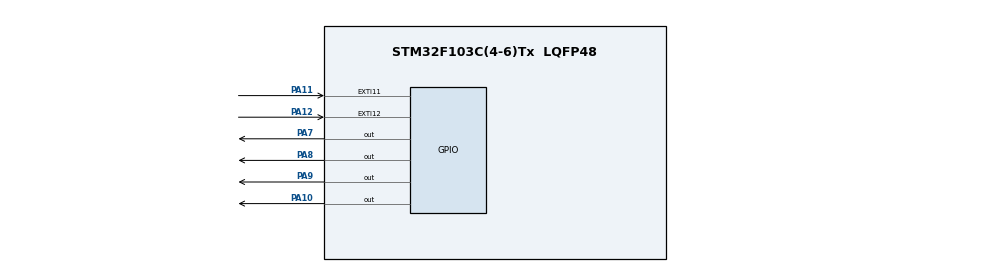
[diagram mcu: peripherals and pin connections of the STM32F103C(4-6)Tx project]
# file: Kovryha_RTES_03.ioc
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Mcu.Family=STM32F1
Mcu.Name=STM32F103C(4-6)Tx
Mcu.Package=LQFP48
NVIC.EXTI15_10_IRQn=true\:0\:0\:false\:true\:true\:1\:true\:true
NVIC.PriorityGroup=NVIC_PRIORITYGROUP_4
PA10.Signal=GPIO_Output
PA11.Signal=GPXTI11
PA12.Signal=GPXTI12
PA7.Signal=GPIO_Output
PA8.Signal=GPIO_Output
PA9.Signal=GPIO_Output
ProjectManager.HeapSize=0x200
ProjectManager.StackSize=0x400
ProjectManager.TargetToolchain=STM32CubeIDE
RCC.APB1Freq_Value=8000000
RCC.APB2Freq_Value=8000000
VP_SYS_VS_ND.Mode=No_Debug
board=custom

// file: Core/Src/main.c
/* USER CODE BEGIN Header */
/**
  ******************************************************************************
  * @file           : main.c
  * @brief          : Main program body
  ******************************************************************************
  * @attention
  *
  * <h2><center>&copy; Copyright (c) 2021 STMicroelectronics.
  * All rights reserved.</center></h2>
  *
  * This software component is licensed by ST under BSD 3-Clause license,
  * the "License"; You may not use this file except in compliance with the
  * License. You may obtain a copy of the License at:
  *                        opensource.org/licenses/BSD-3-Clause
  *
  ******************************************************************************
  */
/* USER CODE END Header */
#include "main.h"

void SystemClock_Config(void);
static void MX_GPIO_Init(void);
static void MX_NVIC_Init(void);

int main(void)
{

  /* MCU Configuration--------------------------------------------------------*/

  /* Reset of all peripherals, Initializes the Flash interface and the Systick. */
  HAL_Init();

  /* Configure the system clock */
  SystemClock_Config();

  /* Initialize all configured peripherals */
  MX_GPIO_Init();

  /* Initialize interrupts */
  MX_NVIC_Init();
  /* USER CODE BEGIN 2 */
  HAL_GPIO_WritePin (GPIOA, GPIO_PIN_7, GPIO_PIN_SET);
  HAL_GPIO_WritePin (GPIOA, GPIO_PIN_8, GPIO_PIN_SET);
  HAL_GPIO_WritePin (GPIOA, GPIO_PIN_9, GPIO_PIN_SET);
  HAL_GPIO_WritePin (GPIOA, GPIO_PIN_10, GPIO_PIN_SET);

  /* USER CODE END 2 */

  /* Infinite loop */
  while (1)
  {

  }
}

void SystemClock_Config(void)
{
  RCC_OscInitTypeDef RCC_OscInitStruct = {0};
  RCC_ClkInitTypeDef RCC_ClkInitStruct = {0};

  /** Initializes the RCC Oscillators according to the specified parameters
  * in the RCC_OscInitTypeDef structure.
  */
  RCC_OscInitStruct.OscillatorType = RCC_OSCILLATORTYPE_HSI;
  RCC_OscInitStruct.HSIState = RCC_HSI_ON;
  RCC_OscInitStruct.HSICalibrationValue = RCC_HSICALIBRATION_DEFAULT;
  RCC_OscInitStruct.PLL.PLLState = RCC_PLL_NONE;
  if (HAL_RCC_OscConfig(&RCC_OscInitStruct) != HAL_OK)
  {
    Error_Handler();
  }
  /** Initializes the CPU, AHB and APB buses clocks
  */
  RCC_ClkInitStruct.ClockType = RCC_CLOCKTYPE_HCLK|RCC_CLOCKTYPE_SYSCLK
                              |RCC_CLOCKTYPE_PCLK1|RCC_CLOCKTYPE_PCLK2;
  RCC_ClkInitStruct.SYSCLKSource = RCC_SYSCLKSOURCE_HSI;
  RCC_ClkInitStruct.AHBCLKDivider = RCC_SYSCLK_DIV1;
  RCC_ClkInitStruct.APB1CLKDivider = RCC_HCLK_DIV1;
  RCC_ClkInitStruct.APB2CLKDivider = RCC_HCLK_DIV1;

  if (HAL_RCC_ClockConfig(&RCC_ClkInitStruct, FLASH_LATENCY_0) != HAL_OK)
  {
    Error_Handler();
  }
}

/**
  * @brief NVIC Configuration.
  * @retval None
  */
static void MX_NVIC_Init(void)
{
  /* EXTI15_10_IRQn interrupt configuration */
  HAL_NVIC_SetPriority(EXTI15_10_IRQn, 0, 0);
  HAL_NVIC_EnableIRQ(EXTI15_10_IRQn);
}

static void MX_GPIO_Init(void)
{
  GPIO_InitTypeDef GPIO_InitStruct = {0};

  /* GPIO Ports Clock Enable */
  __HAL_RCC_GPIOA_CLK_ENABLE();

  /*Configure GPIO pin Output Level */
  HAL_GPIO_WritePin(GPIOA, GPIO_PIN_7|GPIO_PIN_8|GPIO_PIN_9|GPIO_PIN_10, GPIO_PIN_RESET);

  /*Configure GPIO pins : PA7 PA8 PA9 PA10 */
  GPIO_InitStruct.Pin = GPIO_PIN_7|GPIO_PIN_8|GPIO_PIN_9|GPIO_PIN_10;
  GPIO_InitStruct.Mode = GPIO_MODE_OUTPUT_PP;
  GPIO_InitStruct.Pull = GPIO_NOPULL;
  GPIO_InitStruct.Speed = GPIO_SPEED_FREQ_LOW;
  HAL_GPIO_Init(GPIOA, &GPIO_InitStruct);

  /*Configure GPIO pins : PA11 PA12 */
  GPIO_InitStruct.Pin = GPIO_PIN_11|GPIO_PIN_12;
  GPIO_InitStruct.Mode = GPIO_MODE_IT_RISING;
  GPIO_InitStruct.Pull = GPIO_NOPULL;
  HAL_GPIO_Init(GPIOA, &GPIO_InitStruct);

}

/* USER CODE BEGIN 4 */
void HAL_GPIO_EXTI_Callback(uint16_t GPIO_Pin)
{
	if ((GPIO_Pin == GPIO_PIN_12) && (HAL_GPIO_ReadPin (GPIOA, GPIO_PIN_12) == GPIO_PIN_RESET))
	{
		if (HAL_GPIO_ReadPin (GPIOA, GPIO_PIN_7) == GPIO_PIN_SET)
		{
			HAL_GPIO_TogglePin (GPIOA, GPIO_PIN_7);
		} else if (HAL_GPIO_ReadPin(GPIOA, GPIO_PIN_8) == GPIO_PIN_SET)
		{
			HAL_GPIO_TogglePin (GPIOA, GPIO_PIN_8);
		} else if (HAL_GPIO_ReadPin(GPIOA, GPIO_PIN_9) == GPIO_PIN_SET)
		{
			HAL_GPIO_TogglePin (GPIOA, GPIO_PIN_9);
		} else
		{
			HAL_GPIO_WritePin (GPIOA, GPIO_PIN_10, GPIO_PIN_RESET);
		}
	} else if ((GPIO_Pin == GPIO_PIN_11) && (HAL_GPIO_ReadPin (GPIOA, GPIO_PIN_11) == GPIO_PIN_RESET))
	{
		if (HAL_GPIO_ReadPin (GPIOA, GPIO_PIN_10) == GPIO_PIN_RESET)
		{
			HAL_GPIO_TogglePin (GPIOA, GPIO_PIN_10);
		} else if (HAL_GPIO_ReadPin(GPIOA, GPIO_PIN_9) == GPIO_PIN_RESET)
		{
			HAL_GPIO_TogglePin (GPIOA, GPIO_PIN_9);
		} else if (HAL_GPIO_ReadPin (GPIOA, GPIO_PIN_8) == GPIO_PIN_RESET)
		{
			HAL_GPIO_TogglePin (GPIOA, GPIO_PIN_8);
		} else
		{
			HAL_GPIO_WritePin (GPIOA, GPIO_PIN_7, GPIO_PIN_SET);
		}
	}
}
/* USER CODE END 4 */

void Error_Handler(void)
{
  __disable_irq();
  while (1)
  {
  }
}
